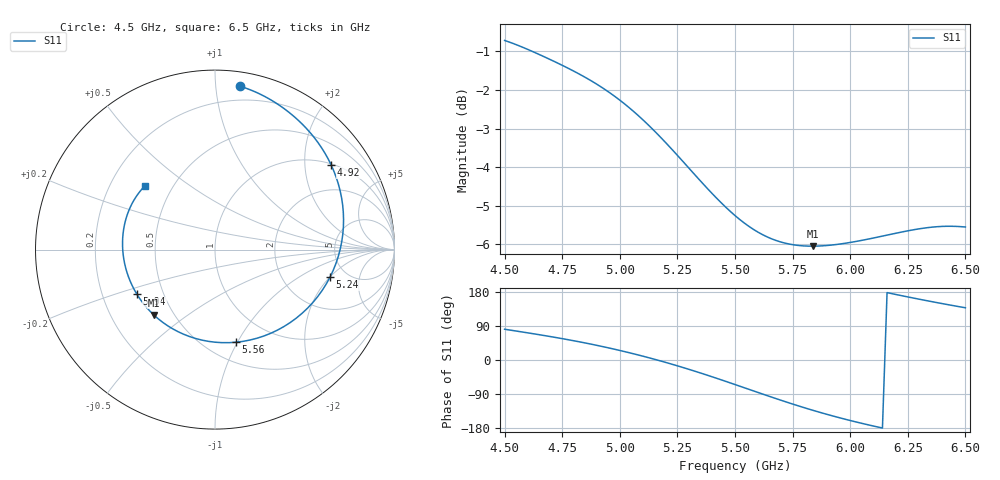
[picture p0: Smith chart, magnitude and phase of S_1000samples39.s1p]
! TOUCHSTONE file generated by CST MICROWAVE STUDIO
! Date and time: Wed Oct 26 18:58:57 2022
! Project name: L.cst
! Parameters = {Di=1.27; Epsilon_r=1.56; InnerDiameter=1.27; Length=2; Lf=10; Lg=60; OuterConductorThickness=0.2921; OuterDiameter=3.6; Wf=3; Wp=41.2; de=1.5; df=6.8; g=0.8; gx=3.56998; gy=2.36724; h=2.34; hf=1.524; px=12.8504; py=11.5631; w=9.7; wx=9.28041; wy=9.19581}
! Header version: 2018
! Port assignment regex: !\s*Touchstone port\s*([0-9]+)\s*=\s*(CST MWS port|CST DS port)\s*([0-9]+|Zmin|Zmax)\s*\(\"(.*)\"\)(\s*mode\s*([0-9]+))?.*
! Touchstone port assignment:
! Touchstone port 1 = CST MWS port 1 ("")
# GHz S DB R 50
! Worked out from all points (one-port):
!   101 points, 4.5 GHz to 6.5 GHz, reference 50 ohm
!   lowest |S11| = -6.0 dB at 5.84 GHz (marker M1), VSWR 2.99, Z = 19.5 - j18.9 ohm
!   |S11| at or under -10 dB: nowhere
!   S11 on the Smith chart (normalised r, x): 4.5 GHz: 0.10, +1.16; 4.92 GHz: 1.03, +2.72; 5.24 GHz: 3.69, -2.02; 5.56 GHz: 0.69, -0.99; 5.94 GHz: 0.35, -0.23; 6.5 GHz: 0.35, +0.34
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4.5  -0.72 81.1
4.62  -1.00 69.7
4.7  -1.22 61.7
4.76  -1.39 55.3
4.84  -1.64 46.1
4.92  -1.93 36.1
5  -2.27 25.2
5.06  -2.56 16.3
5.12  -2.89 6.9
5.18  -3.25 -3.1
5.24  -3.63 -13.6
5.26  -3.76 -17.2
5.32  -4.16 -28.5
5.38  -4.55 -40.2
5.44  -4.92 -52.3
5.5  -5.25 -64.7
5.56  -5.53 -77.3
5.6  -5.68 -85.7
5.66  -5.86 -98.2
5.76  -6.01 -118.1
5.84  -6.04 -133.1
5.94  -6.00 -150.2
6  -5.95 -159.7
6.12  -5.81 -176.9
6.18  -5.73 175.2
6.26  -5.64 165.2
6.38  -5.54 151.1
6.5  -5.55 137.8
